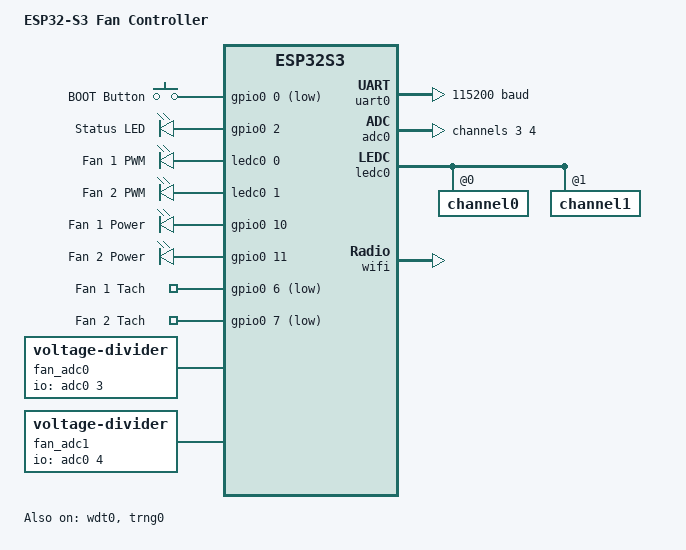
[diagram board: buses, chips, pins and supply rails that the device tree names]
/*
 * Copyright (c) 2024-2025 Espressif Systems (Shanghai) Co., Ltd.
 *
 * SPDX-License-Identifier: Apache-2.0
 */
/dts-v1/;

#include <espressif/esp32s3/esp32s3_wroom_n16r8.dtsi>
#include "esp32s3_fan_controller-partitions.dtsi"
#include <zephyr/dt-bindings/input/input-event-codes.h>
#include <zephyr/dt-bindings/adc/adc.h>
#include <zephyr/dt-bindings/pwm/pwm.h>
#include "esp32s3_fan_controller-pinctrl.dtsi"

/ {
	model = "ESP32-S3 Fan Controller";
	compatible = "espressif,esp32s3";

	aliases {
		uart-0 = &uart0;
		sw0 = &button0;
		watchdog0 = &wdt0;
		led0 = &status_led;
		status-led = &status_led;
		fan-pwm0 = &fan_pwm0;
		fan-pwm1 = &fan_pwm1;
		fan-power0 = &fan_power0;
		fan-power1 = &fan_power1;
		fan-adc0 = &fan_adc0;
		fan-adc1 = &fan_adc1;
		fan-tach0 = &fan_tach0;
		fan-tach1 = &fan_tach1;
	};

	chosen {
		zephyr,sram = &sram1;
		zephyr,console = &uart0;
		zephyr,shell-uart = &uart0;
		zephyr,flash = &flash0;
		zephyr,code-partition = &slot0_partition;
	};

	buttons {
		compatible = "gpio-keys";

		button0: button_0 {
			gpios = <&gpio0 0 (GPIO_PULL_UP | GPIO_ACTIVE_LOW)>;
			label = "BOOT Button";
			zephyr,code = <INPUT_KEY_0>;
		};
	};

	leds {
		compatible = "gpio-leds";

		status_led: led_0 {
			gpios = <&gpio0 2 GPIO_ACTIVE_HIGH>;
			label = "Status LED";
		};
	};

	fanpwms {
		compatible = "pwm-leds";

		fan_pwm0: fan_pwm_0 {
			label = "Fan 1 PWM";
			pwms = <&ledc0 0 PWM_HZ(25000) PWM_POLARITY_NORMAL>;
		};

		fan_pwm1: fan_pwm_1 {
			label = "Fan 2 PWM";
			pwms = <&ledc0 1 PWM_HZ(25000) PWM_POLARITY_NORMAL>;
		};
	};

	fanpowers {
		compatible = "gpio-leds";

		fan_power0: fan_power_0 {
			gpios = <&gpio0 10 GPIO_ACTIVE_HIGH>;
			label = "Fan 1 Power";
		};

		fan_power1: fan_power_1 {
			gpios = <&gpio0 11 GPIO_ACTIVE_HIGH>;
			label = "Fan 2 Power";
		};
	};

	fantachs {
		compatible = "gpio-keys";

		fan_tach0: fan_tach_0 {
			gpios = <&gpio0 6 (GPIO_PULL_UP | GPIO_ACTIVE_LOW)>;
			label = "Fan 1 Tach";
		};

		fan_tach1: fan_tach_1 {
			gpios = <&gpio0 7 (GPIO_PULL_UP | GPIO_ACTIVE_LOW)>;
			label = "Fan 2 Tach";
		};
	};

	/* The external divider is 35k / 10k, so 12 V becomes about 2.67 V at the ADC pin. */
	fan_adc0: fan_adc_0 {
		compatible = "voltage-divider";
		io-channels = <&adc0 3>;
		output-ohms = <10000>;
		full-ohms = <45000>;
	};

	fan_adc1: fan_adc_1 {
		compatible = "voltage-divider";
		io-channels = <&adc0 4>;
		output-ohms = <10000>;
		full-ohms = <45000>;
	};

	wifi_ap: wifi_ap {
		compatible = "espressif,esp32-wifi";
		status = "okay";
	};
};

&usb_serial {
	status = "disabled";
};

&uart0 {
	status = "okay";
	current-speed = <115200>;
	pinctrl-0 = <&uart0_default>;
	pinctrl-names = "default";
};

&gpio0 {
	status = "okay";
};

&gpio1 {
	status = "okay";
};

&adc0 {
	status = "okay";
	#address-cells = <1>;
	#size-cells = <0>;

	channel@3 {
		reg = <3>;
		zephyr,gain = "ADC_GAIN_1_4";
		zephyr,reference = "ADC_REF_INTERNAL";
		zephyr,acquisition-time = <ADC_ACQ_TIME_DEFAULT>;
		zephyr,resolution = <12>;
	};

	channel@4 {
		reg = <4>;
		zephyr,gain = "ADC_GAIN_1_4";
		zephyr,reference = "ADC_REF_INTERNAL";
		zephyr,acquisition-time = <ADC_ACQ_TIME_DEFAULT>;
		zephyr,resolution = <12>;
	};
};

&ledc0 {
	pinctrl-0 = <&ledc0_default>;
	pinctrl-names = "default";
	status = "okay";
	#address-cells = <1>;
	#size-cells = <0>;

	channel0@0 {
		reg = <0x0>;
		timer = <0>;
	};

	channel1@1 {
		reg = <0x1>;
		timer = <1>;
	};
};

&timer0 {
	status = "disabled";
};

&timer1 {
	status = "disabled";
};

&timer2 {
	status = "disabled";
};

&timer3 {
	status = "disabled";
};

&wdt0 {
	status = "okay";
};

&trng0 {
	status = "okay";
};

&wifi {
	status = "okay";
};
